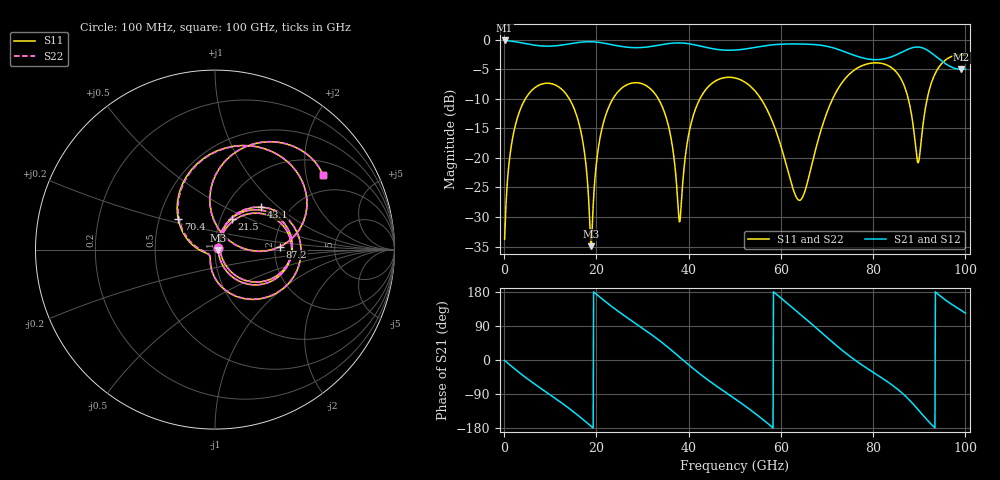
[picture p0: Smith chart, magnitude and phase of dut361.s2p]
! Touchstone file exported from HFSS 2026.1.0
!  File:  C:/ffzhzh/LocalFiles/Ansys_Project_Files/temp_train_TSV_RDL_361_1783710725_44652.aedt
!  Generated:  03:19:12 AM Jul 11, 2026
!  Design:  TSV_RDL
!  Project:  temp_train_TSV_RDL_361_1783710725_44652
! Variables:
!  h_bsmrdl = 3.21um
!  h_ox = 20um
!  h_rdl = 5um
!  h_sub = 74.7um
!  h_tmrdl = 2.09um
!  h_tsv = 74.7um
!  h_via = 3um
!  l_bsmrdl = 416.63um
!  l_sub = 2976.77um
!  l_tmrdl = 302.11um
!  m_sub = 200um
!  pitch = 41.75um
!  r_tsv = 11.75um
!  s_tmrdl = 10um
!  w_bsmrdl = 17.29um
!  w_sub = 500um
!  w_tmrdl = 22.19um
!  x_tsv_center1 = 313.205um
!  x_tsv_center2 = 747.125um
!  x_tsv_center3 = 1071.425um
!  x_tsv_center4 = 1505.345um
!  x_tsv_center5 = 1829.645um
!  x_tsv_center6 = 2263.565um
# GHz S MA R 50.000000
! Terminal data exported
! Port[1] = TM_RDL1_1_T1
! Port[2] = TM_RDL5_1_T1
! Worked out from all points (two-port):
!   1000 points, 100 MHz to 100 GHz, reference 50 ohm
!   highest |S21| = -0.16 dB at 100 MHz (marker M1); lowest = -5.0 dB at 99.1 GHz (marker M2)
!   |S21| within 3 dB of the highest: start of sweep to 78 GHz; 83 GHz to 94.08 GHz (11.08 GHz wide, 12.5 % of centre)
!   lowest |S11| = -34.9 dB at 18.8 GHz (marker M3), VSWR 1.04, Z = 51.8 - j0.276 ohm
!   |S11| at or under -10 dB: 14.11 GHz to 23.6 GHz (9.485 GHz wide, 50.3 % of centre); 33.41 GHz to 42.46 GHz (9.043 GHz wide, 23.8 % of centre); 55.65 GHz to 71.24 GHz (15.59 GHz wide, 24.6 % of centre) (the widest 3 of 5)
!   |S22| runs from -34.8 to -2.6 dB; largest |S21 - S12| = 9.9e-14
!   S11 on the Smith chart (normalised r, x): 100 MHz: 1.04, +0.02; 21.5 GHz: 1.13, +0.41; 43.1 GHz: 1.45, +0.78; 70.4 GHz: 0.63, +0.23; 87.2 GHz: 2.13, +0.08; 100 GHz: 1.41, +2.51
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0.1  0.02051 25.4  0.9816 -1.1  0.9816 -1.1  0.02051 25.4
! Gamma 0 0 0 0
! Port Impedance 50 0 50 0
2  0.1588 60.6  0.9631 -20.6  0.9631 -20.6  0.1588 60.6
5.7  0.3615 30.8  0.907 -55.5  0.907 -55.5  0.3615 30.8
16.8  0.1555 -60.1  0.9504 -153.9  0.9504 -153.9  0.1556 -60.0
18.8  0.01795 -8.5  0.9574 -174.2  0.9574 -174.2  0.01813 -8.5
21.5  0.1963 62.0  0.9334 158.6  0.9334 158.6  0.1963 62.0
27.2  0.4235 15.3  0.857 107.3  0.857 107.3  0.4234 15.4
33.4  0.3169 -34.3  0.8942 53.9  0.8942 53.9  0.3169 -34.2
38  0.02881 0.3  0.9357 8.0  0.9357 8.0  0.02805 0.3
43.1  0.3494 42.4  0.8697 -42.8  0.8697 -42.8  0.3493 42.8
50.1  0.4728 -13.3  0.8142 -102.8  0.8142 -102.8  0.4728 -12.9
58.9  0.1702 -87.8  0.907 174.9  0.907 174.9  0.1699 -87.7
63.7  0.04442 -131.8  0.9166 125.8  0.9166 125.8  0.04324 -136.3
66.7  0.08734 -179.1  0.9091 94.7  0.9091 94.7  0.08732 177.2
70.4  0.2661 140.3  0.8689 55.3  0.8689 55.3  0.2664 138.8
77  0.5857 79.6  0.7119 -8.3  0.7119 -8.3  0.5858 79.1
83.4  0.5976 32.2  0.7021 -59.8  0.7021 -59.8  0.5977 32.0
87.2  0.3613 2.6  0.8153 -97.6  0.8153 -97.6  0.3612 2.4
89.8  0.09104 50.9  0.8635 -131.8  0.8635 -131.8  0.08951 50.8
93.1  0.481 84.6  0.7453 -175.6  0.7453 -175.6  0.4806 84.9
99.1  0.7402 40.0  0.5592 130.8  0.5592 130.8  0.7401 40.3
100  0.7303 34.5  0.564 123.7  0.564 123.7  0.7306 34.9
